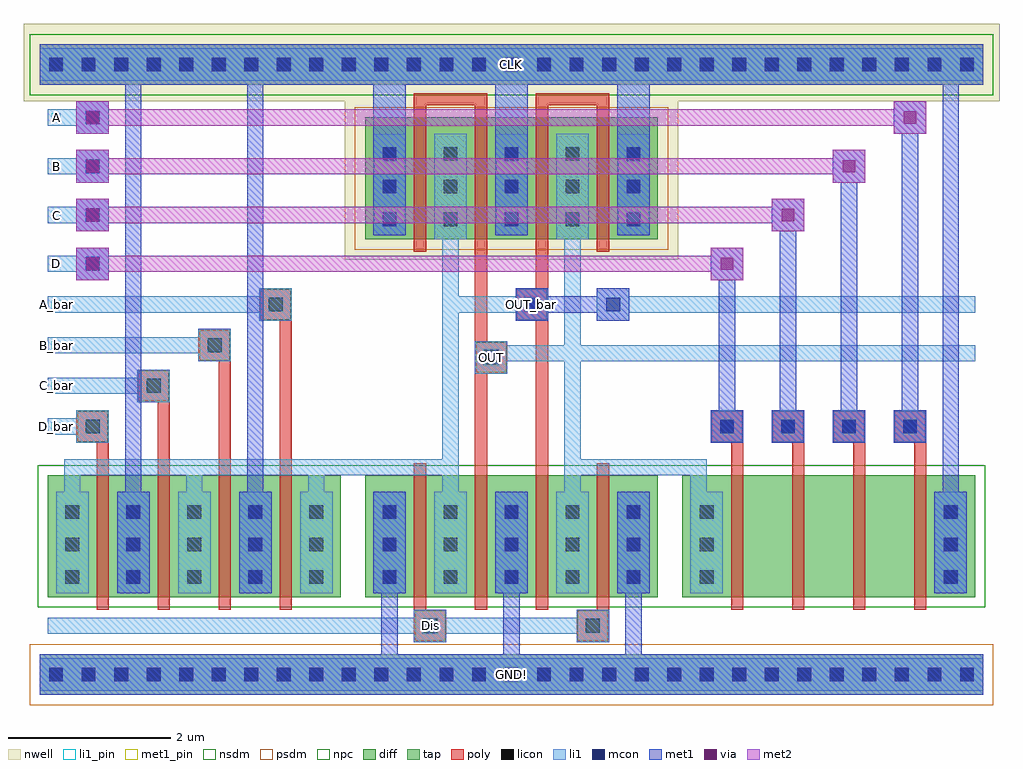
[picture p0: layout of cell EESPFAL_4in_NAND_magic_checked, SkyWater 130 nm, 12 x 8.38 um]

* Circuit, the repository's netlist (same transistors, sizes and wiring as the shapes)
* NGSPICE file created from EESPFAL_4in_NAND_magic_checked.ext - technology: sky130A

.subckt EESPFAL_4in_NAND_magic_checked OUT A A_bar B B_bar C C_bar D D_bar Dis OUT_bar
+ GND CLK
X0 OUT_bar Dis GND GND sky130_fd_pr__nfet_01v8 ad=3.6e+12p pd=1.68e+07u as=2.7e+12p ps=1.26e+07u w=1.5e+06u l=150000u
X1 CLK B_bar OUT_bar GND sky130_fd_pr__nfet_01v8 ad=8.5e+12p pd=3.68e+07u as=0p ps=0u w=1.5e+06u l=150000u
X2 a_n1040_180# B a_n1190_180# GND sky130_fd_pr__nfet_01v8 ad=9e+11p pd=4.2e+06u as=9e+11p ps=4.2e+06u w=1.5e+06u l=150000u
X3 OUT_bar OUT CLK CLK sky130_fd_pr__pfet_01v8 ad=9e+11p pd=4.2e+06u as=2.7e+12p ps=1.26e+07u w=1.5e+06u l=150000u M=2
X4 CLK D_bar OUT_bar GND sky130_fd_pr__nfet_01v8 ad=0p pd=0u as=0p ps=0u w=1.5e+06u l=150000u
X5 OUT OUT_bar GND GND sky130_fd_pr__nfet_01v8 ad=1.8e+12p pd=8.4e+06u as=0p ps=0u w=1.5e+06u l=150000u
X6 a_n1340_180# D OUT GND sky130_fd_pr__nfet_01v8 ad=9e+11p pd=4.2e+06u as=0p ps=0u w=1.5e+06u l=150000u
X7 OUT_bar A_bar CLK GND sky130_fd_pr__nfet_01v8 ad=0p pd=0u as=0p ps=0u w=1.5e+06u l=150000u
X8 OUT_bar C_bar CLK GND sky130_fd_pr__nfet_01v8 ad=0p pd=0u as=0p ps=0u w=1.5e+06u l=150000u
X9 GND Dis OUT GND sky130_fd_pr__nfet_01v8 ad=0p pd=0u as=0p ps=0u w=1.5e+06u l=150000u
X10 OUT OUT_bar CLK CLK sky130_fd_pr__pfet_01v8 ad=9e+11p pd=4.2e+06u as=0p ps=0u w=1.5e+06u l=150000u M=2
X11 GND OUT OUT_bar GND sky130_fd_pr__nfet_01v8 ad=0p pd=0u as=0p ps=0u w=1.5e+06u l=150000u
X12 CLK A a_n1040_180# GND sky130_fd_pr__nfet_01v8 ad=0p pd=0u as=0p ps=0u w=1.5e+06u l=150000u
X13 a_n1190_180# C a_n1340_180# GND sky130_fd_pr__nfet_01v8 ad=0p pd=0u as=0p ps=0u w=1.5e+06u l=150000u
.ends

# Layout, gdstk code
import gdstk
lib = gdstk.Library(unit=1e-6, precision=1e-09)
def R(c, l, rs):  # rectangles x0, y0, x1, y1
    for r in rs: c.add(gdstk.rectangle(r[:2], r[2:], *l))
def A(c, l, x, y, w, h, nx, ny, dx, dy):  # array of equal rectangles
    R(c, l, [(x+i*dx, y+j*dy, x+i*dx+w, y+j*dy+h) for i in range(nx) for j in range(ny)])
nwell = (64, 20)
diff = (65, 20)
tap = (65, 44)
poly = (66, 20)
licon = (66, 44)
li1_pin = (67, 16)
li1 = (67, 20)
mcon = (67, 44)
met1_pin = (68, 16)
met1 = (68, 20)
via = (68, 44)
met2 = (69, 20)
nsdm = (93, 44)
psdm = (94, 20)
npc = (95, 20)

eespfal_4in_nand_magic_c = lib.new_cell('EESPFAL_4in_NAND_magic_checked')
R(eespfal_4in_nand_magic_c, nwell, [(-11.6,5.05,-7.5,7), (-15.55,7,-3.55,7.95)])
A(eespfal_4in_nand_magic_c, diff, -15.25, 0.9, 3.6, 1.5, 3, 1, 3.9, 0)
R(eespfal_4in_nand_magic_c, diff, [(-11.35,5.3,-7.75,6.8)])
R(eespfal_4in_nand_magic_c, tap, [(-15.35,-0.3,-3.75,0.2), (-15.35,7.2,-3.75,7.7)])
A(eespfal_4in_nand_magic_c, poly, -6.85, 0.75, 0.15, 2.05, 4, 1, 0.75, 0)
A(eespfal_4in_nand_magic_c, poly, -7.1, 2.8, 0.4, 0.4, 4, 1, 0.75, 0)
R(eespfal_4in_nand_magic_c, poly, [(-10.75,0.35,-10.35,0.75), (-8.75,0.35,-8.35,0.75), (-14.65,0.75,-14.5,2.8), (-13.9,0.75,-13.75,3.3), (-13.15,0.75,-13,3.8), (-12.4,0.75,-12.25,4.3), (-10.75,0.75,-10.6,2.55), (-10,0.75,-9.85,3.65), (-9.25,0.75,-9.1,4.3), (-8.5,0.75,-8.35,2.55), (-14.9,2.8,-14.5,3.2), (-14.15,3.3,-13.75,3.7), (-10,3.65,-9.6,4.05), (-13.4,3.8,-13,4.2), (-10,4.05,-9.85,6.95), (-12.65,4.3,-12.25,4.7), (-9.5,4.3,-9.1,4.7), (-9.25,4.7,-9.1,6.95), (-10.75,5.15,-10.6,6.95), (-8.5,5.15,-8.35,6.95), (-10.75,6.95,-9.85,7.1), (-9.25,6.95,-8.35,7.1)])
A(eespfal_4in_nand_magic_c, licon, -15.235, -0.135, 0.17, 0.17, 29, 2, 0.4, 7.5)
A(eespfal_4in_nand_magic_c, licon, -15.035, 1.065, 0.17, 0.17, 5, 3, 0.75, 0.4)
A(eespfal_4in_nand_magic_c, licon, -11.135, 1.065, 0.17, 0.17, 5, 3, 0.75, 0.4)
A(eespfal_4in_nand_magic_c, licon, -7.235, 1.065, 0.17, 0.17, 1, 3, 0, 0.4)
A(eespfal_4in_nand_magic_c, licon, -4.235, 1.065, 0.17, 0.17, 1, 3, 0, 0.4)
A(eespfal_4in_nand_magic_c, licon, -6.985, 2.915, 0.17, 0.17, 4, 1, 0.75, 0)
A(eespfal_4in_nand_magic_c, licon, -11.135, 5.465, 0.17, 0.17, 5, 3, 0.75, 0.4)
R(eespfal_4in_nand_magic_c, licon, [(-10.635,0.465,-10.465,0.635), (-8.635,0.465,-8.465,0.635), (-14.785,2.915,-14.615,3.085), (-14.035,3.415,-13.865,3.585), (-9.885,3.765,-9.715,3.935), (-13.285,3.915,-13.115,4.085), (-12.535,4.415,-12.365,4.585), (-9.385,4.415,-9.215,4.585)])
A(eespfal_4in_nand_magic_c, li1_pin, -15.2, 2.95, 0.1, 0.1, 1, 5, 0, 0.5)
A(eespfal_4in_nand_magic_c, li1_pin, -15.2, 5.55, 0.1, 0.1, 1, 3, 0, 0.6)
R(eespfal_4in_nand_magic_c, li1_pin, [(-10.65,0.45,-10.45,0.65), (-9.9,3.75,-9.7,3.95)])
A(eespfal_4in_nand_magic_c, li1, -15.15, 0.95, 0.4, 1.25, 5, 1, 0.75, 0)
A(eespfal_4in_nand_magic_c, li1, -11.25, 0.95, 0.4, 1.25, 5, 1, 0.75, 0)
A(eespfal_4in_nand_magic_c, li1, -15.05, 2.2, 0.2, 0.2, 3, 1, 1.5, 0)
A(eespfal_4in_nand_magic_c, li1, -7.1, 2.8, 0.4, 0.4, 4, 1, 0.75, 0)
A(eespfal_4in_nand_magic_c, li1, -14.9, 4.8, 0.4, 0.1, 1, 8, 0, 0.3)
A(eespfal_4in_nand_magic_c, li1, -15.25, 4.9, 0.75, 0.2, 1, 4, 0, 0.6)
A(eespfal_4in_nand_magic_c, li1, -11.25, 5.35, 0.4, 1.25, 3, 1, 1.5, 0)
R(eespfal_4in_nand_magic_c, li1, [(-15.35,-0.25,-3.75,0.15), (-10.75,0.35,-10.35,0.45), (-8.75,0.35,-8.35,0.45), (-15.25,0.45,-8.35,0.65), (-10.75,0.65,-10.35,0.75), (-8.75,0.65,-8.35,0.75), (-7.35,0.95,-6.95,2.2), (-4.35,0.95,-3.95,2.2), (-10.4,2.2,-10.2,2.4), (-8.9,2.2,-8.7,2.4), (-7.35,2.2,-7.15,2.4), (-15.05,2.4,-10.2,2.6), (-8.9,2.4,-7.15,2.6), (-10.4,2.6,-10.2,4.4), (-8.9,2.6,-8.7,3.8), (-14.9,2.8,-14.5,2.9), (-15.25,2.9,-14.5,3.1), (-14.9,3.1,-14.5,3.2), (-14.15,3.3,-13.75,3.4), (-15.25,3.4,-13.75,3.6), (-14.15,3.6,-13.75,3.7), (-10,3.65,-9.6,3.8), (-13.4,3.8,-13,3.9), (-10,3.8,-3.85,4), (-15.25,3.9,-13,4.1), (-10,4,-9.6,4.05), (-8.9,4,-8.7,5.3), (-13.4,4.1,-13,4.2), (-12.65,4.3,-12.25,4.4), (-9.5,4.3,-9.1,4.4), (-8.5,4.3,-8.1,4.4), (-15.25,4.4,-12.25,4.6), (-10.4,4.4,-9.1,4.6), (-8.5,4.4,-3.85,4.6), (-12.65,4.6,-12.25,4.7), (-10.4,4.6,-10.2,5.3), (-9.5,4.6,-9.1,4.7), (-8.5,4.6,-8.1,4.7), (-10.5,5.3,-10.1,6.6), (-9,5.3,-8.6,6.6), (-15.35,7.25,-3.75,7.65)])
A(eespfal_4in_nand_magic_c, mcon, -15.235, -0.135, 0.17, 0.17, 29, 2, 0.4, 7.5)
A(eespfal_4in_nand_magic_c, mcon, -14.285, 1.065, 0.17, 0.17, 1, 3, 0, 0.4)
A(eespfal_4in_nand_magic_c, mcon, -12.785, 1.065, 0.17, 0.17, 1, 3, 0, 0.4)
A(eespfal_4in_nand_magic_c, mcon, -11.135, 1.065, 0.17, 0.17, 3, 3, 1.5, 0.4)
A(eespfal_4in_nand_magic_c, mcon, -4.235, 1.065, 0.17, 0.17, 1, 3, 0, 0.4)
A(eespfal_4in_nand_magic_c, mcon, -6.985, 2.915, 0.17, 0.17, 4, 1, 0.75, 0)
A(eespfal_4in_nand_magic_c, mcon, -14.785, 4.915, 0.17, 0.17, 1, 4, 0, 0.6)
A(eespfal_4in_nand_magic_c, mcon, -11.135, 5.465, 0.17, 0.17, 3, 3, 1.5, 0.4)
R(eespfal_4in_nand_magic_c, mcon, [(-9.385,4.415,-9.215,4.585), (-8.385,4.415,-8.215,4.585)])
R(eespfal_4in_nand_magic_c, met1_pin, [(-9.65,-0.15,-9.45,0.05), (-9.4,4.4,-9.2,4.6), (-9.65,7.35,-9.45,7.55)])
A(eespfal_4in_nand_magic_c, met1, -11.15, 0.2, 0.2, 0.75, 3, 1, 1.5, 0)
A(eespfal_4in_nand_magic_c, met1, -11.25, 0.95, 0.4, 1.25, 3, 1, 1.5, 0)
A(eespfal_4in_nand_magic_c, met1, -7.1, 2.8, 0.4, 0.4, 4, 1, 0.75, 0)
A(eespfal_4in_nand_magic_c, met1, -14.9, 4.8, 0.4, 0.4, 1, 4, 0, 0.6)
A(eespfal_4in_nand_magic_c, met1, -11.25, 5.35, 0.4, 1.85, 3, 1, 1.5, 0)
R(eespfal_4in_nand_magic_c, met1, [(-15.35,-0.3,-3.75,0.2), (-14.4,0.95,-14,2.2), (-12.9,0.95,-12.5,2.2), (-4.35,0.95,-3.95,2.2), (-14.3,2.2,-14.1,7.2), (-12.8,2.2,-12.6,7.2), (-4.25,2.2,-4.05,7.2), (-7,3.2,-6.8,4.8), (-6.25,3.2,-6.05,5.4), (-5.5,3.2,-5.3,6), (-4.75,3.2,-4.55,6.6), (-9.5,4.3,-9.1,4.4), (-8.5,4.3,-8.1,4.4), (-9.5,4.4,-8.1,4.6), (-9.5,4.6,-9.1,4.7), (-8.5,4.6,-8.1,4.7), (-7.1,4.8,-6.7,5.2), (-6.35,5.4,-5.95,5.8), (-5.6,6,-5.2,6.4), (-4.85,6.6,-4.45,7), (-15.35,7.2,-3.75,7.7)])
A(eespfal_4in_nand_magic_c, via, -14.775, 4.925, 0.15, 0.15, 1, 4, 0, 0.6)
R(eespfal_4in_nand_magic_c, via, [(-6.975,4.925,-6.825,5.075), (-6.225,5.525,-6.075,5.675), (-5.475,6.125,-5.325,6.275), (-4.725,6.725,-4.575,6.875)])
A(eespfal_4in_nand_magic_c, met2, -14.9, 4.8, 0.4, 0.1, 1, 8, 0, 0.3)
R(eespfal_4in_nand_magic_c, met2, [(-7.1,4.8,-6.7,4.9), (-14.9,4.9,-6.7,5.1), (-7.1,5.1,-6.7,5.2), (-6.35,5.4,-5.95,5.5), (-14.9,5.5,-5.95,5.7), (-6.35,5.7,-5.95,5.8), (-5.6,6,-5.2,6.1), (-14.9,6.1,-5.2,6.3), (-5.6,6.3,-5.2,6.4), (-4.85,6.6,-4.45,6.7), (-14.9,6.7,-4.45,6.9), (-4.85,6.9,-4.45,7)])
R(eespfal_4in_nand_magic_c, nsdm, [(-15.375,0.775,-3.725,2.525), (-15.475,7.075,-3.625,7.825)])
R(eespfal_4in_nand_magic_c, psdm, [(-15.475,-0.425,-3.625,0.325), (-11.475,5.175,-7.625,6.925)])
A(eespfal_4in_nand_magic_c, npc, -7.085, 2.815, 0.37, 0.37, 4, 1, 0.75, 0)
R(eespfal_4in_nand_magic_c, npc, [(-10.735,0.365,-10.365,0.735), (-8.735,0.365,-8.365,0.735), (-14.885,2.815,-14.515,3.185), (-14.135,3.315,-13.765,3.685), (-9.985,3.665,-9.615,4.035), (-13.385,3.815,-13.015,4.185), (-12.635,4.315,-12.265,4.685), (-9.485,4.315,-9.115,4.685)])
eespfal_4in_nand_magic_c.add(gdstk.Label('OUT', (-9.8,3.85), layer=67, texttype=16))
eespfal_4in_nand_magic_c.add(gdstk.Label('A', (-15.15,6.8), layer=67, texttype=16))
eespfal_4in_nand_magic_c.add(gdstk.Label('A_bar', (-15.15,4.5), layer=67, texttype=16))
eespfal_4in_nand_magic_c.add(gdstk.Label('B', (-15.15,6.2), layer=67, texttype=16))
eespfal_4in_nand_magic_c.add(gdstk.Label('B_bar', (-15.15,4), layer=67, texttype=16))
eespfal_4in_nand_magic_c.add(gdstk.Label('C', (-15.15,5.6), layer=67, texttype=16))
eespfal_4in_nand_magic_c.add(gdstk.Label('C_bar', (-15.15,3.5), layer=67, texttype=16))
eespfal_4in_nand_magic_c.add(gdstk.Label('D', (-15.15,5), layer=67, texttype=16))
eespfal_4in_nand_magic_c.add(gdstk.Label('D_bar', (-15.15,3), layer=67, texttype=16))
eespfal_4in_nand_magic_c.add(gdstk.Label('Dis', (-10.55,0.55), layer=67, texttype=16))
eespfal_4in_nand_magic_c.add(gdstk.Label('OUT_bar', (-9.3,4.5), layer=68, texttype=16))
eespfal_4in_nand_magic_c.add(gdstk.Label('GND!', (-9.55,-0.05), layer=68, texttype=16))
eespfal_4in_nand_magic_c.add(gdstk.Label('CLK', (-9.55,7.45), layer=68, texttype=16))

lib.write_gds('EESPFAL_4in_NAND_magic_checked.gds')
